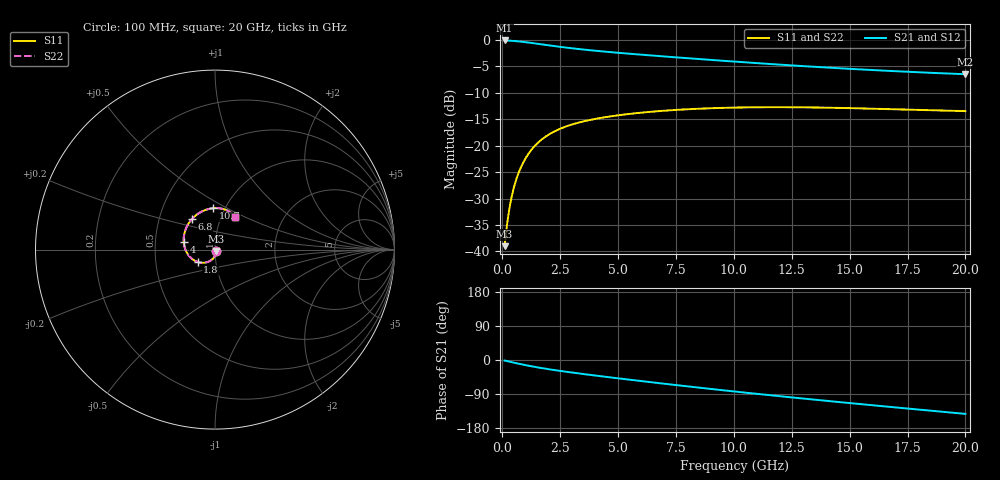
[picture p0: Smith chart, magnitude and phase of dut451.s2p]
! Touchstone file exported from HFSS 2024.1.0
!  File:  C:/UserFiles/LocalFiles/RDL_TSV_Batchsim/temp_RDL_TSV_451_1779725373.aedt
!  Generated:  12:21:49 AM May 26, 2026
!  Design:  RDL_TSV
!  Project:  temp_RDL_TSV_451_1779725373
!  Setup:  Setup1
!  Solution:  Sweep
! Variables:
!  dtsv = 14.61um
!  hbump = 3um
!  htsv = 80.75um
!  ldown = 233.06um
!  lrdl = 231.2um
!  p = 40
!  p1 = 41.04um
!  rhole = 10um
!  subl = 1623.98um
!  t = 450um
!  tdown = 2.82um
!  trdl = 4.59um
!  viad = 10um
!  wdown = 21.48um
!  wrdl = 21.37um
!  xbump = 18um
# GHz S MA R 50.000000
! Terminal data exported
! Port[1] = TM1_1_T1
! Port[2] = TM1_4_T1
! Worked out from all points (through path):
!   200 points, 100 MHz to 20 GHz, reference 50 ohm
!   highest |S21| = -0.08 dB at 100 MHz (marker M1); lowest = -6.5 dB at 20 GHz (marker M2)
!   group delay of S21, straight-line fit = 18.6 ps
!   lowest |S11| = -39.0 dB at 100 MHz (marker M3), VSWR 1.02, Z = 50.8 - j0.822 ohm
!   |S11| at or under -10 dB: start of sweep to end of sweep
!   |S22| runs from -39.0 to -12.7 dB; largest |S21 - S12| = 1.4e-14
!   S11 on the Smith chart (normalised r, x): 100 MHz: 1.02, -0.02; 1.8 GHz: 0.82, -0.11; 4 GHz: 0.70, +0.06; 6.8 GHz: 0.73, +0.26; 10.7 GHz: 0.88, +0.43; 20 GHz: 1.16, +0.44
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0.1  0.0112 -46.3  0.9913 -1.5  0.9913 -1.5  0.0112 -46.3
! Gamma 0 0 0 0
! Port Impedance 50 0 50 0
0.2  0.0176 -68.0  0.9897 -2.9  0.9897 -2.9  0.0176 -68.0
0.3  0.02495 -79.8  0.9872 -4.3  0.9872 -4.3  0.02495 -79.8
0.4  0.03256 -88.0  0.9841 -5.7  0.9841 -5.7  0.03256 -88.0
0.5  0.04018 -94.5  0.9805 -7.1  0.9805 -7.1  0.04018 -94.5
0.7  0.05502 -105.1  0.9717 -9.7  0.9717 -9.7  0.05502 -105.1
0.9  0.06901 -113.9  0.9611 -12.3  0.9611 -12.3  0.06901 -113.9
1.2  0.08805 -125.5  0.9431 -15.9  0.9431 -15.9  0.08805 -125.5
1.5  0.1046 -135.6  0.9237 -19.2  0.9237 -19.2  0.1046 -135.6
1.8  0.1189 -144.8  0.9042 -22.3  0.9042 -22.3  0.1189 -144.8
2.5  0.1448 -163.2  0.8621 -28.8  0.8621 -28.8  0.1448 -163.2
3.5  0.1697 175.6  0.8133 -37.0  0.8133 -37.0  0.1697 175.6
4  0.1791 166.6  0.793 -40.9  0.793 -40.9  0.1791 166.6
5.4  0.1989 145.1  0.745 -51.3  0.745 -51.3  0.1989 145.1
6.8  0.2129 127.6  0.7045 -61.3  0.7045 -61.3  0.2129 127.6
8.4  0.2235 111.2  0.6633 -72.3  0.6633 -72.3  0.2235 111.2
10.1  0.2297 97.0  0.6238 -83.6  0.6238 -83.6  0.2297 97.0
10.7  0.2308 92.7  0.6109 -87.5  0.6109 -87.5  0.2308 92.7
13.4  0.2302 76.9  0.5595 -104.2  0.5595 -104.2  0.2302 77.0
15  0.2268 70.1  0.534 -113.7  0.534 -113.7  0.2268 70.1
16.7  0.2219 64.6  0.5107 -123.5  0.5107 -123.5  0.2219 64.6
20  0.2126 58.3  0.4748 -142.2  0.4748 -142.2  0.2126 58.3
